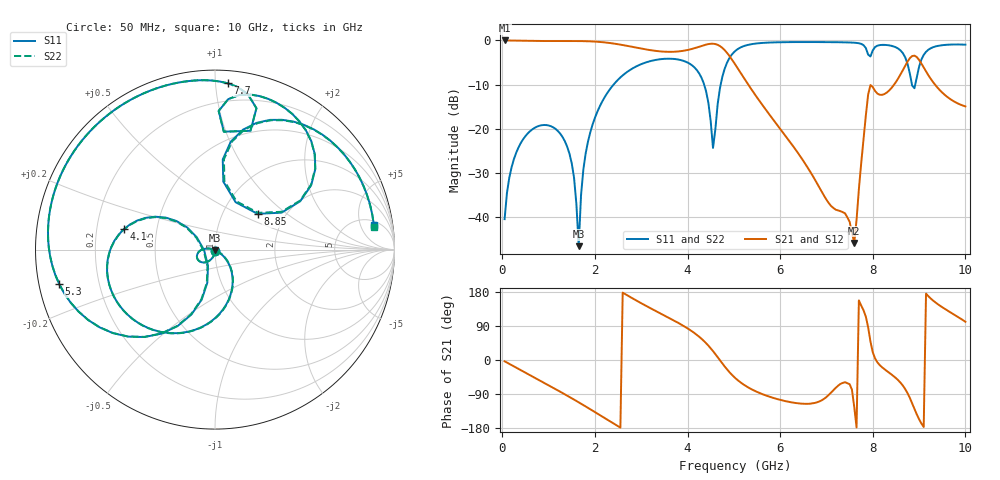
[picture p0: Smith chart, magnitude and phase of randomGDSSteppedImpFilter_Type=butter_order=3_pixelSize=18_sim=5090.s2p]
! freq	dB(S11)	phase(S11)	dB(S12)	phase(S12)
!  dB(S21)	phase(S21)	dB(S22)	phase(S22)
!S-par simulation data
#  GHz  S  DB  R 50
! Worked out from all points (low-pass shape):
!   200 points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, 50 MHz to 10 GHz, reference 50 ohm
!   highest |S21| = -0.01 dB at 50 MHz (marker M1); lowest = -45.8 dB at 7.6 GHz (marker M2)
!   |S21| within 3 dB of the highest: start of sweep to 4.867 GHz
!   lowest |S11| = -46.5 dB at 1.65 GHz (marker M3), VSWR 1.01, Z = 49.9 - j0.447 ohm
!   |S11| at or under -10 dB: start of sweep to 2.402 GHz; 4.359 GHz to 4.716 GHz (357.5 MHz wide, 7.88 % of centre); 8.847 GHz to 8.917 GHz (69.98 MHz wide, 0.788 % of centre)
!   |S22| runs from -48.2 to -0.4 dB; largest |S21 - S12| = 0
!   S11 on the Smith chart (normalised r, x): 50 MHz: 1.00, -0.02; 4.1 GHz: 0.32, +0.10; 5.3 GHz: 0.06, -0.11; 7.7 GHz: 0.08, +1.08; 8.85 GHz: 1.45, +0.64; 10 GHz: 6, +9
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0.05  -40.42 -91.9  -0.01 -3.4  -0.01 -3.4  -40.42 -91.9
0.35  -24.20 -113.4  -0.05 -23.5  -0.05 -23.5  -24.20 -113.5
1.05  -19.40 -160.1  -0.14 -70.1  -0.14 -70.1  -19.40 -160.4
1.5  -27.80 171.8  -0.13 -101.0  -0.13 -101.0  -27.82 170.2
1.65  -46.53 -108.2  -0.14 -111.7  -0.14 -111.7  -48.24 -115.0
1.75  -29.22 -35.0  -0.16 -118.9  -0.16 -118.9  -29.24 -32.5
2.3  -11.39 -71.6  -0.55 -159.9  -0.55 -159.9  -11.39 -71.1
3.4  -4.26 -146.4  -2.47 123.9  -2.47 123.9  -4.26 -146.1
4.1  -5.65 167.5  -1.91 75.4  -1.91 75.4  -5.65 167.9
4.4  -11.48 143.4  -0.95 44.5  -0.95 44.5  -11.46 144.1
4.55  -24.31 -176.8  -0.74 23.5  -0.74 23.5  -23.91 -175.8
4.75  -8.30 -110.0  -1.67 -8.8  -1.67 -8.8  -8.28 -110.3
5.05  -2.21 -146.0  -5.76 -49.8  -5.76 -49.8  -2.21 -146.1
5.3  -1.02 -167.6  -9.81 -71.7  -9.81 -71.7  -1.02 -167.6
6.7  -0.37 127.5  -30.56 -114.3  -30.56 -114.3  -0.37 127.6
7.6  -0.52 91.2  -45.83 -124.0  -45.83 -124.0  -0.52 91.2
7.7  -0.64 85.5  -33.63 157.2  -33.63 157.2  -0.64 85.5
7.95  -3.62 85.7  -10.08 48.8  -10.08 48.8  -3.63 85.7
8.35  -1.11 63.8  -11.36 -33.2  -11.36 -33.2  -1.11 63.9
8.85  -10.19 40.1  -3.53 -114.1  -3.53 -114.1  -10.03 40.5
9.25  -1.78 62.6  -8.66 162.4  -8.66 162.4  -1.78 62.1
10  -0.96 8.9  -14.92 101.0  -14.92 101.0  -0.96 8.2
